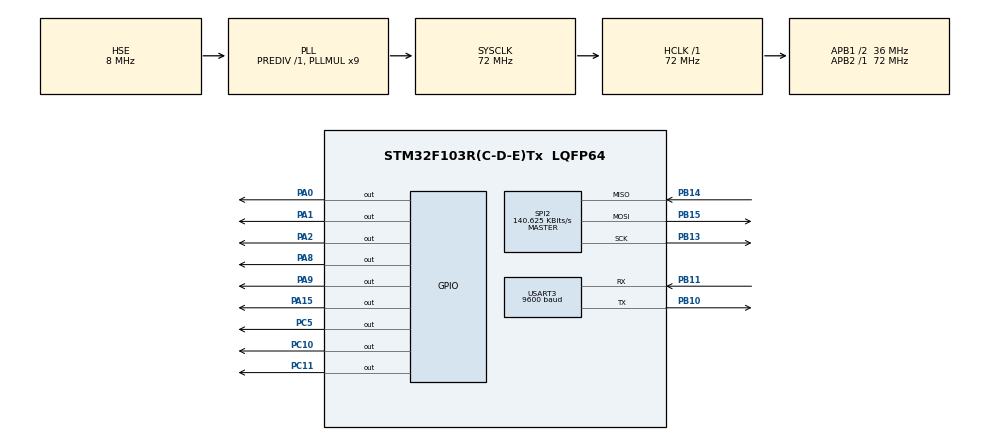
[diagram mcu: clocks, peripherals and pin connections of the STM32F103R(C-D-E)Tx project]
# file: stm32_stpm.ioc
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Mcu.Family=STM32F1
Mcu.Name=STM32F103R(C-D-E)Tx
Mcu.Package=LQFP64
NVIC.PriorityGroup=NVIC_PRIORITYGROUP_4
NVIC.TIM3_IRQn=true\:0\:0\:false\:false\:true\:true\:true\:true
PA0-WKUP.Signal=GPIO_Output
PA1.Signal=GPIO_Output
PA12.Signal=USB_DP
PA13.Mode=Serial_Wire
PA13.Signal=SYS_JTMS-SWDIO
PA14.Mode=Serial_Wire
PA14.Signal=SYS_JTCK-SWCLK
PA15.Signal=GPIO_Output
PA2.Signal=GPIO_Output
PA8.Signal=GPIO_Output
PA9.Signal=GPIO_Output
PB10.Mode=Asynchronous
PB10.Signal=USART3_TX
PB11.Mode=Asynchronous
PB11.Signal=USART3_RX
PB13.Mode=Full_Duplex_Master
PB13.Signal=SPI2_SCK
PB14.Mode=Full_Duplex_Master
PB14.Signal=SPI2_MISO
PB15.Mode=Full_Duplex_Master
PB15.Signal=SPI2_MOSI
PC10.Signal=GPIO_Output
PC11.Signal=GPIO_Output
PC14-OSC32_IN.Mode=LSE-External-Oscillator
PC14-OSC32_IN.Signal=RCC_OSC32_IN
PC15-OSC32_OUT.Mode=LSE-External-Oscillator
PC15-OSC32_OUT.Signal=RCC_OSC32_OUT
PC5.Signal=GPIO_Output
PD0-OSC_IN.Mode=HSE-External-Oscillator
PD0-OSC_IN.Signal=RCC_OSC_IN
PD1-OSC_OUT.Mode=HSE-External-Oscillator
PD1-OSC_OUT.Signal=RCC_OSC_OUT
ProjectManager.HeapSize=0x400
ProjectManager.StackSize=0x200
ProjectManager.TargetToolchain=EWARM V7
RCC.AHBFreq_Value=72000000
RCC.APB1CLKDivider=RCC_HCLK_DIV2
RCC.APB1Freq_Value=36000000
RCC.APB1TimFreq_Value=72000000
RCC.APB2Freq_Value=72000000
RCC.APB2TimFreq_Value=72000000
RCC.HCLKFreq_Value=72000000
RCC.PLLMUL=RCC_PLL_MUL9
RCC.PLLSourceVirtual=RCC_PLLSOURCE_HSE
RCC.SYSCLKFreq_VALUE=72000000
RCC.SYSCLKSource=RCC_SYSCLKSOURCE_PLLCLK
RCC.USBFreq_Value=48000000
RCC.USBPrescaler=RCC_USBCLKSOURCE_PLL_DIV1_5
SPI2.BaudRatePrescaler=SPI_BAUDRATEPRESCALER_256
SPI2.CLKPhase=SPI_PHASE_2EDGE
SPI2.CLKPolarity=SPI_POLARITY_HIGH
SPI2.CRCCalculation=SPI_CRCCALCULATION_ENABLE
SPI2.CalculateBaudRate=140.625 KBits/s
SPI2.Direction=SPI_DIRECTION_2LINES
SPI2.Mode=SPI_MODE_MASTER
SPI2.VirtualType=VM_MASTER
USART3.BaudRate=9600
USART3.VirtualMode=VM_ASYNC
VP_TIM3_VS_ClockSourceINT.Mode=Internal
board=stm32_stpm

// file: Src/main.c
/* USER CODE BEGIN Header */
/**
  ******************************************************************************
  * @file           : main.c
  * @brief          : Main program body
  ******************************************************************************
  * @attention
  *
  * Copyright (c) 2023 STMicroelectronics.
  * All rights reserved.
  *
  * This software is licensed under terms that can be found in the LICENSE file
  * in the root directory of this software component.
  * If no LICENSE file comes with this software, it is provided AS-IS.
  *
  ******************************************************************************
  */
/* USER CODE END Header */
#include "main.h"

/* USER CODE BEGIN Includes */
#include "stdio.h"
#include "metroTask.h"
#include "st_device.h"
#include "metrology_hal.h"
#include "string.h"
/* USER CODE END Includes */

SPI_HandleTypeDef hspi2;

TIM_HandleTypeDef htim3;

UART_HandleTypeDef huart3;

/* USER CODE BEGIN PV */

wAppStruct ph_one ;
uint8_t txbuf[];
uint8_t byte;

/* USER CODE END PV */

void SystemClock_Config(void);
static void MX_GPIO_Init(void);
static void MX_TIM3_Init(void);
static void MX_USART3_UART_Init(void);
static void MX_SPI2_Init(void);

/* USER CODE BEGIN 0 */
/*void HAL_UART_RxCpltCallback(UART_HandleTypeDef *huart)
{
  if(huart2.Instance == USART2)
  {
    /* Transmit one byte with 100 ms timeout */
  /*  if(byte=='a')
    {
      HAL_UART_Transmit(&huart2, txbuf, sizeof(&txbuf), 100);
    }
    /* Receive one byte in interrupt mode */
 /*   HAL_UART_Receive_IT(&huart2, &byte, 1);
  }

}*/

/*void HAL_UART_TxCpltCallback(UART_HandleTypeDef *huart)
{
  memset(&rxbuf, 0, sizeof(&rxbuf));
  HAL_UART_Receive_IT(&huart2,&rxbuf,sizeof(rxbuf));

}*/
/* USER CODE END 0 */

int main(void)
{

  /* MCU Configuration--------------------------------------------------------*/

  /* Reset of all peripherals, Initializes the Flash interface and the Systick. */
  HAL_Init();

  /* Configure the system clock */
  SystemClock_Config();

  /* Initialize all configured peripherals */
  MX_GPIO_Init();
  MX_TIM3_Init();
  MX_USART3_UART_Init();
  MX_SPI2_Init();
  /* USER CODE BEGIN 2 */

 // HAL_GPIO_WritePin(GPIOC, GPIO_PIN_5, GPIO_PIN_RESET);
  HAL_GPIO_WritePin(GPIOC, GPIO_PIN_5, GPIO_PIN_RESET);// configure EN pins as low
  //HAL_GPIO_WritePin(GPIOB, GPIO_PIN_12, GPIO_PIN_SET);

  METRO_Init();
  WA_init(&ph_one);
  //HAL_UART_Receive_IT(&huart2,&byte,1);

  /* USER CODE END 2 */

  /* Infinite loop */
  /* USER CODE BEGIN WHILE */
  while (1)
  {

    METRO_Latch_Measures();
    METRO_Get_Measures();
    METRO_Update_Measures();

    WA_routine(&ph_one);
    sprintf(txbuf,"%d",ph_one.current.vs.var);

    /* USER CODE END WHILE */

  }
}

void SystemClock_Config(void)
{
  RCC_OscInitTypeDef RCC_OscInitStruct = {0};
  RCC_ClkInitTypeDef RCC_ClkInitStruct = {0};

  /** Initializes the RCC Oscillators according to the specified parameters
  * in the RCC_OscInitTypeDef structure.
  */
  RCC_OscInitStruct.OscillatorType = RCC_OSCILLATORTYPE_HSE;
  RCC_OscInitStruct.HSEState = RCC_HSE_ON;
  RCC_OscInitStruct.HSEPredivValue = RCC_HSE_PREDIV_DIV1;
  RCC_OscInitStruct.HSIState = RCC_HSI_ON;
  RCC_OscInitStruct.PLL.PLLState = RCC_PLL_ON;
  RCC_OscInitStruct.PLL.PLLSource = RCC_PLLSOURCE_HSE;
  RCC_OscInitStruct.PLL.PLLMUL = RCC_PLL_MUL9;
  if (HAL_RCC_OscConfig(&RCC_OscInitStruct) != HAL_OK)
  {
    Error_Handler();
  }

  /** Initializes the CPU, AHB and APB buses clocks
  */
  RCC_ClkInitStruct.ClockType = RCC_CLOCKTYPE_HCLK|RCC_CLOCKTYPE_SYSCLK
                              |RCC_CLOCKTYPE_PCLK1|RCC_CLOCKTYPE_PCLK2;
  RCC_ClkInitStruct.SYSCLKSource = RCC_SYSCLKSOURCE_PLLCLK;
  RCC_ClkInitStruct.AHBCLKDivider = RCC_SYSCLK_DIV1;
  RCC_ClkInitStruct.APB1CLKDivider = RCC_HCLK_DIV2;
  RCC_ClkInitStruct.APB2CLKDivider = RCC_HCLK_DIV1;

  if (HAL_RCC_ClockConfig(&RCC_ClkInitStruct, FLASH_LATENCY_2) != HAL_OK)
  {
    Error_Handler();
  }
}

static void MX_SPI2_Init(void)
{

  /* SPI2 parameter configuration*/
  hspi2.Instance = SPI2;
  hspi2.Init.Mode = SPI_MODE_MASTER;
  hspi2.Init.Direction = SPI_DIRECTION_2LINES;
  hspi2.Init.DataSize = SPI_DATASIZE_8BIT;
  hspi2.Init.CLKPolarity = SPI_POLARITY_HIGH;
  hspi2.Init.CLKPhase = SPI_PHASE_2EDGE;
  hspi2.Init.NSS = SPI_NSS_SOFT;
  hspi2.Init.BaudRatePrescaler = SPI_BAUDRATEPRESCALER_256;
  hspi2.Init.FirstBit = SPI_FIRSTBIT_MSB;
  hspi2.Init.TIMode = SPI_TIMODE_DISABLE;
  hspi2.Init.CRCCalculation = SPI_CRCCALCULATION_ENABLE;
  hspi2.Init.CRCPolynomial = 10;
  if (HAL_SPI_Init(&hspi2) != HAL_OK)
  {
    Error_Handler();
  }

}

static void MX_TIM3_Init(void)
{

  TIM_ClockConfigTypeDef sClockSourceConfig = {0};
  TIM_MasterConfigTypeDef sMasterConfig = {0};

  htim3.Instance = TIM3;
  htim3.Init.Prescaler = 0;
  htim3.Init.CounterMode = TIM_COUNTERMODE_UP;
  htim3.Init.Period = 65535;
  htim3.Init.ClockDivision = TIM_CLOCKDIVISION_DIV1;
  htim3.Init.AutoReloadPreload = TIM_AUTORELOAD_PRELOAD_DISABLE;
  if (HAL_TIM_Base_Init(&htim3) != HAL_OK)
  {
    Error_Handler();
  }
  sClockSourceConfig.ClockSource = TIM_CLOCKSOURCE_INTERNAL;
  if (HAL_TIM_ConfigClockSource(&htim3, &sClockSourceConfig) != HAL_OK)
  {
    Error_Handler();
  }
  sMasterConfig.MasterOutputTrigger = TIM_TRGO_RESET;
  sMasterConfig.MasterSlaveMode = TIM_MASTERSLAVEMODE_DISABLE;
  if (HAL_TIMEx_MasterConfigSynchronization(&htim3, &sMasterConfig) != HAL_OK)
  {
    Error_Handler();
  }

}

static void MX_USART3_UART_Init(void)
{

  huart3.Instance = USART3;
  huart3.Init.BaudRate = 9600;
  huart3.Init.WordLength = UART_WORDLENGTH_8B;
  huart3.Init.StopBits = UART_STOPBITS_1;
  huart3.Init.Parity = UART_PARITY_NONE;
  huart3.Init.Mode = UART_MODE_TX_RX;
  huart3.Init.HwFlowCtl = UART_HWCONTROL_NONE;
  huart3.Init.OverSampling = UART_OVERSAMPLING_16;
  if (HAL_UART_Init(&huart3) != HAL_OK)
  {
    Error_Handler();
  }

}

static void MX_GPIO_Init(void)
{
  GPIO_InitTypeDef GPIO_InitStruct = {0};

  /* GPIO Ports Clock Enable */
  __HAL_RCC_GPIOC_CLK_ENABLE();
  __HAL_RCC_GPIOD_CLK_ENABLE();
  __HAL_RCC_GPIOA_CLK_ENABLE();
  __HAL_RCC_GPIOB_CLK_ENABLE();

  /*Configure GPIO pin Output Level */
  HAL_GPIO_WritePin(GPIOA, GPIO_PIN_0|GPIO_PIN_1|GPIO_PIN_2|GPIO_PIN_8
                          |GPIO_PIN_9|GPIO_PIN_15, GPIO_PIN_RESET);

  /*Configure GPIO pin Output Level */
  HAL_GPIO_WritePin(GPIOC, GPIO_PIN_5|GPIO_PIN_10|GPIO_PIN_11, GPIO_PIN_RESET);

  /*Configure GPIO pins : PA0 PA1 PA2 PA8
                           PA9 PA15 */
  GPIO_InitStruct.Pin = GPIO_PIN_0|GPIO_PIN_1|GPIO_PIN_2|GPIO_PIN_8
                          |GPIO_PIN_9|GPIO_PIN_15;
  GPIO_InitStruct.Mode = GPIO_MODE_OUTPUT_PP;
  GPIO_InitStruct.Pull = GPIO_NOPULL;
  GPIO_InitStruct.Speed = GPIO_SPEED_FREQ_LOW;
  HAL_GPIO_Init(GPIOA, &GPIO_InitStruct);

  /*Configure GPIO pins : PC5 PC10 PC11 */
  GPIO_InitStruct.Pin = GPIO_PIN_5|GPIO_PIN_10|GPIO_PIN_11;
  GPIO_InitStruct.Mode = GPIO_MODE_OUTPUT_PP;
  GPIO_InitStruct.Pull = GPIO_NOPULL;
  GPIO_InitStruct.Speed = GPIO_SPEED_FREQ_LOW;
  HAL_GPIO_Init(GPIOC, &GPIO_InitStruct);

}

void Error_Handler(void)
{
  __disable_irq();
  while (1)
  {
  }
}
